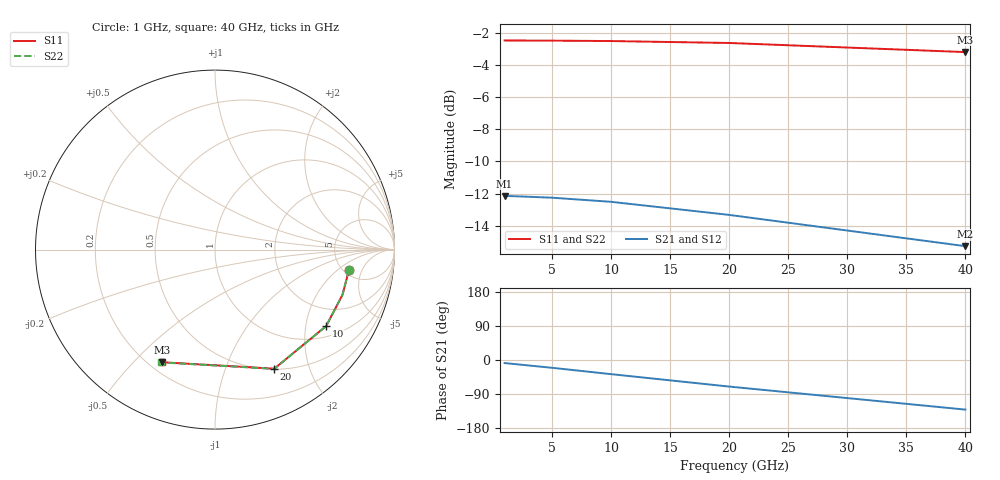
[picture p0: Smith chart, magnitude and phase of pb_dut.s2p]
! Generated by circuitRF - EM: Palace
! circuitRF-EM setup: g_zigzag_solids
! circuitRF-EM layout: zigzag/layout/zigzag.clay
! circuitRF-EM written: 2026-11-04 23:44:02Z
! circuitRF-EM geometry: 5e4ce1c786c3c687
! circuitRF-EM mesh: be36879526fbbc1a
! circuitRF-EM ports: 09112e32f2d348d5
! circuitRF-EM model: Palace 0.18.1 (0dc74cd, schema 1-7-0)
! Port[1] = port/1
! Port[2] = port/2
! circuitRF-EM port 1: 'port/1' from 'airbox/zmin' to 'Metal1/1', wave (mode 1), 50 Ohm: Palace's S is referred to the mode's own impedance Z_PV, renormalised here to 50 Ohm; reference plane 0 um into the structure from the port face
! circuitRF-EM port 2: 'port/2' from 'airbox/zmin' to 'Metal1/2', wave (mode 1), 50 Ohm: Palace's S is referred to the mode's own impedance Z_PV, renormalised here to 50 Ohm; reference plane 0 um into the structure from the port face
! circuitRF-EM 3D mesh: 16,656 elements initially, 16,656 finally, 0 adaptive pass(es), element order 2
! circuitRF-EM 3D operating temperature: 20 C
! circuitRF-EM 3D run: preset Standard; 16656 -> 16656 tetrahedra; 114976 unknowns; 0 refinement pass(es); 7 frequency sample(s)
! circuitRF-EM 3D run cost: wall 1122 s; Palace peak memory 2.3 GB
! circuitRF-EM 3D DC row: circuitRF conduction solve of the conductors, 7,380 elements, 0.7 s; ports as terminal pairs
! circuitRF-EM: re-running the EM setup rewrites this file. If circuitRF reports it as stale, the layout's cross-section changed after this file was written.
# GHz S RI R 50
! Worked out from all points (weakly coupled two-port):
!   5 points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, 1 GHz to 40 GHz, reference 50 ohm
!   highest |S21| = -12.14 dB at 1 GHz (marker M1); lowest = -15.3 dB at 40 GHz (marker M2)
!   lowest |S11| = -3.2 dB at 40 GHz (marker M3), VSWR 5.54, Z = 12.5 - j30.2 ohm
!   |S11| at or under -10 dB: nowhere
!   |S22| runs from -3.1 to -2.4 dB; largest |S21 - S12| = 1.1e-06
!   S11 on the Smith chart (normalised r, x): 1 GHz: 5.57, -2.94; 10 GHz: 1.33, -2.61; 20 GHz: 0.51, -1.49; 40 GHz: 0.25, -0.60
1  0.7462 -0.1135  0.2446 -0.0349  0.2446 -0.0349  0.7462 -0.1135
5  0.7104 -0.2519  0.2283 -0.0854  0.2283 -0.0854  0.7103 -0.2521
10  0.6189 -0.4264  0.1883 -0.1434  0.1883 -0.1434  0.6188 -0.4268
20  0.3303 -0.6635  0.0733 -0.2026  0.0733 -0.2026  0.33 -0.6644
40  -0.2972 -0.6274  -0.1126 -0.1301  -0.1126 -0.1301  -0.299 -0.6286
